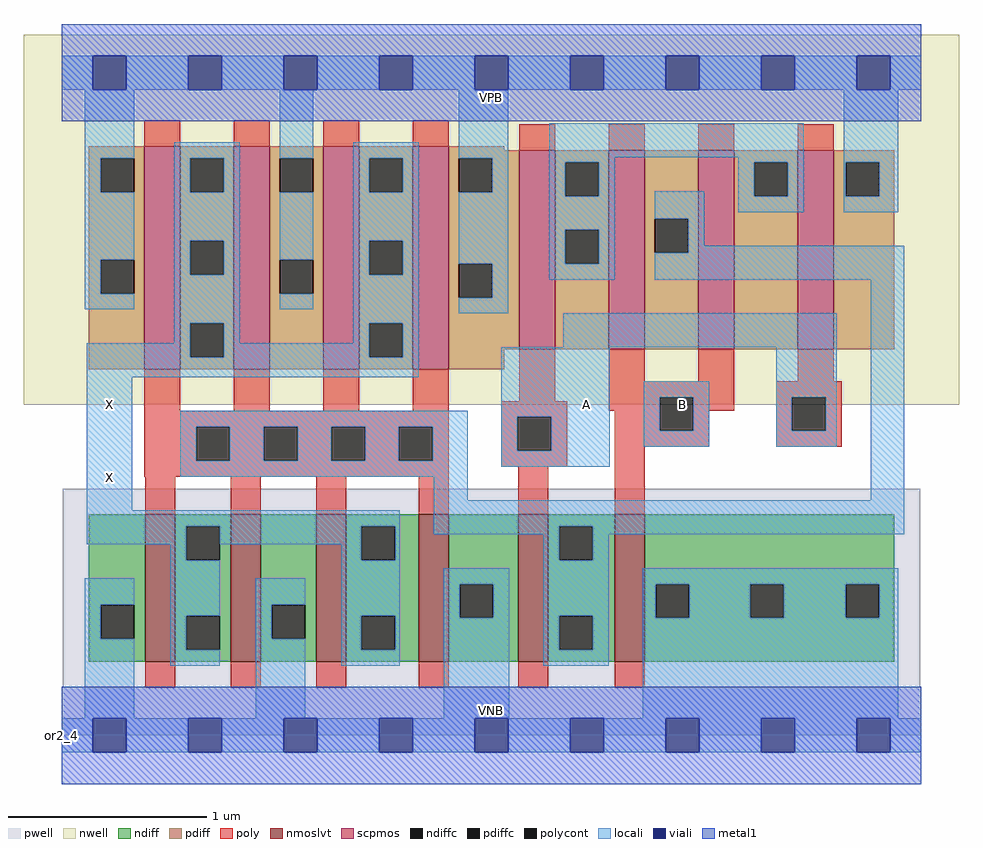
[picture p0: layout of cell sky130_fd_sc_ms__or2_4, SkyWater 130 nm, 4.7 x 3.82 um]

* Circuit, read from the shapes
.subckt sky130_fd_sc_ms__or2_4 A B VGND VNB VPB VPWR X
XM1 X n1 VGND VNB sky130_fd_pr__nfet_01v8_lvt w=0.74 l=0.15 m=4
XM2 n1 A VGND VNB sky130_fd_pr__nfet_01v8_lvt w=0.74 l=0.15
XM3 VGND B n1 VNB sky130_fd_pr__nfet_01v8_lvt w=0.74 l=0.15
XM4 X n1 VPWR VPB sky130_fd_pr__pfet_01v8 w=1.12 l=0.18 m=4
XM5 n2 A VPWR VPB sky130_fd_pr__pfet_01v8 w=1 l=0.18 m=2
XM6 n1 B n2 VPB sky130_fd_pr__pfet_01v8 w=1 l=0.18 m=2
.ends

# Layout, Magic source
magic
tech sky130A
magscale 1 2
<< nwell >>
rect -38 332 902 704
<< pwell >>
rect 1 49 863 248
rect 0 0 864 49
<< scpmos >>
rect 83 368 119 592
rect 173 368 209 592
rect 263 368 299 592
rect 353 368 389 592
rect 460 388 496 588
rect 550 388 586 588
rect 640 388 676 588
rect 740 388 776 588
<< nmoslvt >>
rect 84 74 114 222
rect 170 74 200 222
rect 256 74 286 222
rect 359 74 389 222
rect 459 74 489 222
rect 556 74 586 222
<< ndiff >>
rect 27 131 84 222
rect 27 97 39 131
rect 73 97 84 131
rect 27 74 84 97
rect 114 210 170 222
rect 114 176 125 210
rect 159 176 170 210
rect 114 120 170 176
rect 114 86 125 120
rect 159 86 170 120
rect 114 74 170 86
rect 200 131 256 222
rect 200 97 211 131
rect 245 97 256 131
rect 200 74 256 97
rect 286 210 359 222
rect 286 176 301 210
rect 335 176 359 210
rect 286 120 359 176
rect 286 86 301 120
rect 335 86 359 120
rect 286 74 359 86
rect 389 152 459 222
rect 389 118 400 152
rect 434 118 459 152
rect 389 74 459 118
rect 489 210 556 222
rect 489 176 500 210
rect 534 176 556 210
rect 489 120 556 176
rect 489 86 500 120
rect 534 86 556 120
rect 489 74 556 86
rect 586 152 837 222
rect 586 118 597 152
rect 631 118 692 152
rect 726 118 788 152
rect 822 118 837 152
rect 586 74 837 118
<< pdiff >>
rect 27 580 83 592
rect 27 546 39 580
rect 73 546 83 580
rect 27 478 83 546
rect 27 444 39 478
rect 73 444 83 478
rect 27 368 83 444
rect 119 580 173 592
rect 119 546 129 580
rect 163 546 173 580
rect 119 497 173 546
rect 119 463 129 497
rect 163 463 173 497
rect 119 414 173 463
rect 119 380 129 414
rect 163 380 173 414
rect 119 368 173 380
rect 209 580 263 592
rect 209 546 219 580
rect 253 546 263 580
rect 209 478 263 546
rect 209 444 219 478
rect 253 444 263 478
rect 209 368 263 444
rect 299 580 353 592
rect 299 546 309 580
rect 343 546 353 580
rect 299 497 353 546
rect 299 463 309 497
rect 343 463 353 497
rect 299 414 353 463
rect 299 380 309 414
rect 343 380 353 414
rect 299 368 353 380
rect 389 588 445 592
rect 389 580 460 588
rect 389 546 399 580
rect 433 546 460 580
rect 389 474 460 546
rect 389 440 399 474
rect 433 440 460 474
rect 389 388 460 440
rect 496 576 550 588
rect 496 542 506 576
rect 540 542 550 576
rect 496 508 550 542
rect 496 474 506 508
rect 540 474 550 508
rect 496 388 550 474
rect 586 519 640 588
rect 586 485 596 519
rect 630 485 640 519
rect 586 388 640 485
rect 676 576 740 588
rect 676 542 696 576
rect 730 542 740 576
rect 676 388 740 542
rect 776 576 837 588
rect 776 542 788 576
rect 822 542 837 576
rect 776 388 837 542
rect 389 368 445 388
<< ndiffc >>
rect 39 97 73 131
rect 125 176 159 210
rect 125 86 159 120
rect 211 97 245 131
rect 301 176 335 210
rect 301 86 335 120
rect 400 118 434 152
rect 500 176 534 210
rect 500 86 534 120
rect 597 118 631 152
rect 692 118 726 152
rect 788 118 822 152
<< pdiffc >>
rect 39 546 73 580
rect 39 444 73 478
rect 129 546 163 580
rect 129 463 163 497
rect 129 380 163 414
rect 219 546 253 580
rect 219 444 253 478
rect 309 546 343 580
rect 309 463 343 497
rect 309 380 343 414
rect 399 546 433 580
rect 399 440 433 474
rect 506 542 540 576
rect 506 474 540 508
rect 596 485 630 519
rect 696 542 730 576
rect 788 542 822 576
<< poly >>
rect 83 592 119 618
rect 173 592 209 618
rect 263 592 299 618
rect 353 592 389 618
rect 460 588 496 614
rect 550 588 586 614
rect 640 588 676 614
rect 740 588 776 614
rect 83 326 119 368
rect 173 326 209 368
rect 263 326 299 368
rect 353 326 389 368
rect 460 336 496 388
rect 550 356 586 388
rect 640 356 676 388
rect 740 356 776 388
rect 550 340 676 356
rect 83 310 389 326
rect 83 276 135 310
rect 169 276 203 310
rect 237 276 271 310
rect 305 276 339 310
rect 373 276 389 310
rect 83 260 389 276
rect 442 320 508 336
rect 550 326 601 340
rect 442 286 458 320
rect 492 286 508 320
rect 442 270 508 286
rect 556 306 601 326
rect 635 326 676 340
rect 718 340 784 356
rect 635 306 651 326
rect 556 290 651 306
rect 718 306 734 340
rect 768 306 784 340
rect 718 290 784 306
rect 84 222 114 260
rect 170 222 200 260
rect 256 222 286 260
rect 359 222 389 260
rect 459 222 489 270
rect 556 222 586 290
rect 84 48 114 74
rect 170 48 200 74
rect 256 48 286 74
rect 359 48 389 74
rect 459 48 489 74
rect 556 48 586 74
<< polycont >>
rect 135 276 169 310
rect 203 276 237 310
rect 271 276 305 310
rect 339 276 373 310
rect 458 286 492 320
rect 601 306 635 340
rect 734 306 768 340
<< locali >>
rect 0 649 31 683
rect 65 649 127 683
rect 161 649 223 683
rect 257 649 319 683
rect 353 649 415 683
rect 449 649 511 683
rect 545 649 607 683
rect 641 649 703 683
rect 737 649 799 683
rect 833 649 864 683
rect 23 580 73 649
rect 23 546 39 580
rect 23 478 73 546
rect 23 444 39 478
rect 23 428 73 444
rect 113 580 179 596
rect 113 546 129 580
rect 163 546 179 580
rect 113 497 179 546
rect 113 463 129 497
rect 163 463 179 497
rect 113 414 179 463
rect 219 580 253 649
rect 219 478 253 546
rect 219 428 253 444
rect 293 580 359 596
rect 293 546 309 580
rect 343 546 359 580
rect 293 497 359 546
rect 293 463 309 497
rect 343 463 359 497
rect 113 394 129 414
rect 25 380 129 394
rect 163 394 179 414
rect 293 414 359 463
rect 399 580 449 649
rect 433 546 449 580
rect 399 474 449 546
rect 433 440 449 474
rect 490 581 746 615
rect 490 576 556 581
rect 490 542 506 576
rect 540 542 556 576
rect 680 576 746 581
rect 490 508 556 542
rect 490 474 506 508
rect 540 474 556 508
rect 490 458 556 474
rect 596 519 646 547
rect 680 542 696 576
rect 730 542 746 576
rect 680 526 746 542
rect 786 576 841 649
rect 786 542 788 576
rect 822 542 841 576
rect 786 526 841 542
rect 630 492 646 519
rect 630 485 847 492
rect 596 458 847 485
rect 399 424 449 440
rect 293 394 309 414
rect 163 380 309 394
rect 343 380 359 414
rect 504 390 779 424
rect 25 360 359 380
rect 25 226 71 360
rect 119 310 408 326
rect 119 276 135 310
rect 169 276 203 310
rect 237 276 271 310
rect 305 276 339 310
rect 373 276 408 310
rect 119 260 408 276
rect 442 320 551 390
rect 442 286 458 320
rect 492 286 551 320
rect 585 340 651 356
rect 585 306 601 340
rect 635 306 651 340
rect 585 290 651 306
rect 718 340 779 390
rect 718 306 734 340
rect 768 306 779 340
rect 718 290 779 306
rect 442 270 551 286
rect 374 236 408 260
rect 813 236 847 458
rect 25 210 340 226
rect 25 192 125 210
rect 109 176 125 192
rect 159 192 301 210
rect 23 131 73 158
rect 23 97 39 131
rect 23 17 73 97
rect 109 120 159 176
rect 281 176 301 192
rect 335 176 340 210
rect 374 210 847 236
rect 374 202 500 210
rect 109 86 125 120
rect 109 70 159 86
rect 195 131 245 158
rect 195 97 211 131
rect 195 17 245 97
rect 281 120 340 176
rect 484 176 500 202
rect 534 202 847 210
rect 534 176 550 202
rect 281 86 301 120
rect 335 86 340 120
rect 281 70 340 86
rect 384 152 450 168
rect 384 118 400 152
rect 434 118 450 152
rect 384 17 450 118
rect 484 120 550 176
rect 484 86 500 120
rect 534 86 550 120
rect 484 70 550 86
rect 584 152 841 168
rect 584 118 597 152
rect 631 118 692 152
rect 726 118 788 152
rect 822 118 841 152
rect 584 17 841 118
rect 0 -17 31 17
rect 65 -17 127 17
rect 161 -17 223 17
rect 257 -17 319 17
rect 353 -17 415 17
rect 449 -17 511 17
rect 545 -17 607 17
rect 641 -17 703 17
rect 737 -17 799 17
rect 833 -17 864 17
<< viali >>
rect 31 649 65 683
rect 127 649 161 683
rect 223 649 257 683
rect 319 649 353 683
rect 415 649 449 683
rect 511 649 545 683
rect 607 649 641 683
rect 703 649 737 683
rect 799 649 833 683
rect 31 -17 65 17
rect 127 -17 161 17
rect 223 -17 257 17
rect 319 -17 353 17
rect 415 -17 449 17
rect 511 -17 545 17
rect 607 -17 641 17
rect 703 -17 737 17
rect 799 -17 833 17
<< metal1 >>
rect 0 683 864 715
rect 0 649 31 683
rect 65 649 127 683
rect 161 649 223 683
rect 257 649 319 683
rect 353 649 415 683
rect 449 649 511 683
rect 545 649 607 683
rect 641 649 703 683
rect 737 649 799 683
rect 833 649 864 683
rect 0 617 864 649
rect 0 17 864 49
rect 0 -17 31 17
rect 65 -17 127 17
rect 161 -17 223 17
rect 257 -17 319 17
rect 353 -17 415 17
rect 449 -17 511 17
rect 545 -17 607 17
rect 641 -17 703 17
rect 737 -17 799 17
rect 833 -17 864 17
rect 0 -49 864 -17
<< labels >>
flabel pwell s 0 0 864 49 0 FreeSans 200 0 0 0 VNB
port 4 nsew ground bidirectional
flabel nwell s 0 617 864 666 0 FreeSans 200 0 0 0 VPB
port 5 nsew power bidirectional
rlabel comment s 0 0 0 0 4 or2_4
flabel metal1 s 0 617 864 666 0 FreeSans 340 0 0 0 VPWR
port 6 nsew power bidirectional
flabel metal1 s 0 0 864 49 0 FreeSans 340 0 0 0 VGND
port 3 nsew ground bidirectional
flabel locali s 31 242 65 276 0 FreeSans 340 0 0 0 X
port 7 nsew signal output
flabel locali s 31 316 65 350 0 FreeSans 340 0 0 0 X
port 7 nsew signal output
flabel locali s 607 316 641 350 0 FreeSans 340 0 0 0 B
port 2 nsew signal input
flabel locali s 511 316 545 350 0 FreeSans 340 0 0 0 A
port 1 nsew signal input
<< properties >>
string LEFsite unit
string LEFclass CORE
string FIXED_BBOX 0 0 864 666
string GDS_FILE $PDKPATH/libs.ref/sky130_fd_sc_ms/gds/sky130_fd_sc_ms.gds
string LEFsymmetry X Y
string GDS_END 3979254
string GDS_START 3972194
<< end >>
